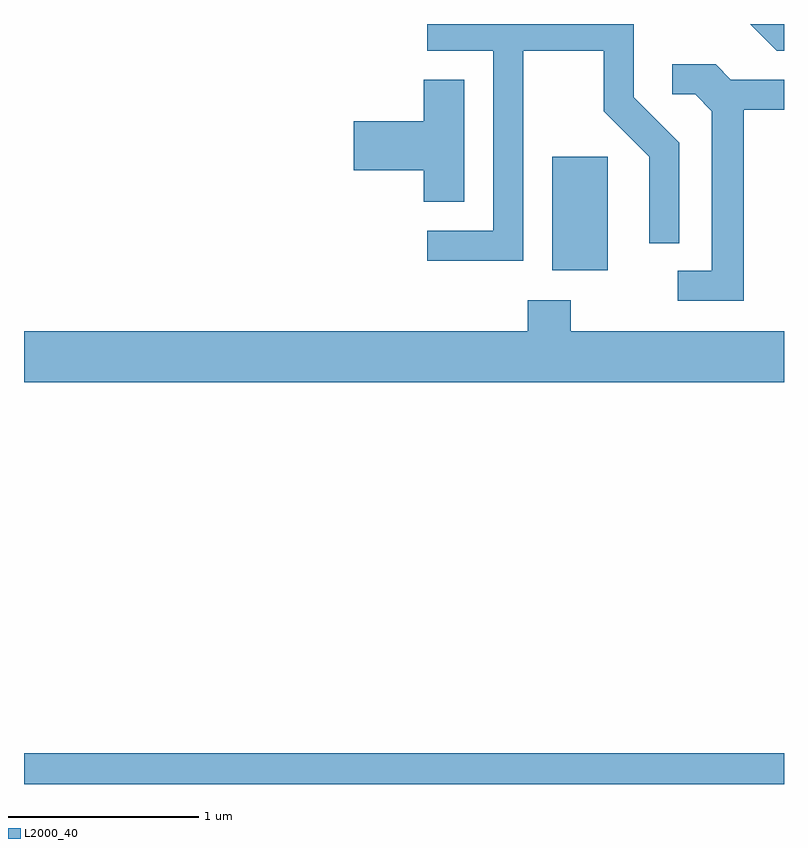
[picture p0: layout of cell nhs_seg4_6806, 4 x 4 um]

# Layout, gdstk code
import gdstk
lib = gdstk.Library(unit=1e-6, precision=1e-09)
def R(c, l, rs):  # rectangles x0, y0, x1, y1
    for r in rs: c.add(gdstk.rectangle(r[:2], r[2:], *l))
def P(c, l, *ps):  # polygons
    for p in ps: c.add(gdstk.Polygon(p, *l))
L2000_40 = (2000, 40)

nhs_seg4_6806 = lib.new_cell('nhs_seg4_6806')
R(nhs_seg4_6806, L2000_40, [(385.611,1265.982,389.611,1266.144), (388.391,1268.686,388.684,1269.284)])
P(nhs_seg4_6806, L2000_40, [(388.239,1269.841),(388.661,1269.841),(388.661,1269.524),(388.901,1269.284),(388.901,1268.828),(389.059,1268.828),(389.059,1269.357),(388.819,1269.597),(388.819,1269.982),(387.733,1269.982),(387.733,1269.841),(388.081,1269.841),(388.081,1268.894),(387.733,1268.894),(387.733,1268.736),(388.239,1268.736)],
  [(389.611,1269.982),(389.433,1269.982),(389.574,1269.841),(389.611,1269.841)],
  [(389.399,1269.531),(389.611,1269.531),(389.611,1269.689),(389.332,1269.689),(389.252,1269.769),(389.023,1269.769),(389.023,1269.611),(389.144,1269.611),(389.231,1269.524),(389.231,1268.684),(389.053,1268.684),(389.053,1268.526),(389.399,1268.526)],
  [(387.929,1269.689),(387.716,1269.689),(387.716,1269.469),(387.346,1269.469),(387.346,1269.211),(387.716,1269.211),(387.716,1269.046),(387.929,1269.046)],
  [(389.611,1268.364),(388.489,1268.364),(388.489,1268.529),(388.261,1268.529),(388.261,1268.364),(385.611,1268.364),(385.611,1268.096),(389.611,1268.096)])

lib.write_gds('nhs_seg4_6806.gds')
